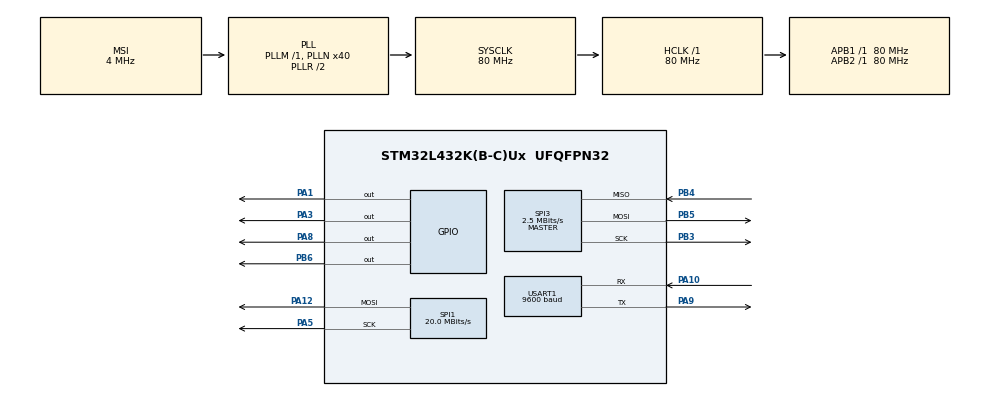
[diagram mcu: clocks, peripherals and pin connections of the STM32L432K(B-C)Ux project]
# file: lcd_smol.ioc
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FATFS._MAX_SS=4096
FATFS._USE_LFN=1
Mcu.Family=STM32L4
Mcu.Name=STM32L432K(B-C)Ux
Mcu.Package=UFQFPN32
NVIC.PriorityGroup=NVIC_PRIORITYGROUP_3
NVIC.TIM2_IRQn=true\:7\:0\:true\:false\:true\:false\:true\:true
NVIC.TimeBase=TIM2_IRQn
NVIC.TimeBaseIP=TIM2
NVIC.USART1_IRQn=true\:0\:0\:false\:false\:true\:true\:true\:true
PA0.GPIO_Label=MCO [High speed clock in]
PA0.Mode=HSE-External-Clock-Source-for-LittleOrca
PA0.Signal=RCC_CK_IN
PA1.GPIO_Speed=GPIO_SPEED_FREQ_VERY_HIGH
PA1.Signal=GPIO_Output
PA10.Mode=Asynchronous
PA10.Signal=USART1_RX
PA12.Mode=TX_Only_Simplex_Unidirect_Master
PA12.Signal=SPI1_MOSI
PA13\ (JTMS-SWDIO).GPIO_Label=SWDIO
PA13\ (JTMS-SWDIO).Signal=SYS_JTMS-SWDIO
PA14\ (JTCK-SWCLK).GPIO_Label=SWCLK
PA14\ (JTCK-SWCLK).Signal=SYS_JTCK-SWCLK
PA15\ (JTDI).GPIO_Label=VCP_RX
PA15\ (JTDI).Signal=USART2_RX
PA2.GPIO_Label=VCP_TX
PA2.Signal=USART2_TX
PA3.GPIO_Speed=GPIO_SPEED_FREQ_VERY_HIGH
PA3.Signal=GPIO_Output
PA5.Mode=TX_Only_Simplex_Unidirect_Master
PA5.Signal=SPI1_SCK
PA8.GPIO_Speed=GPIO_SPEED_FREQ_MEDIUM
PA8.PinState=GPIO_PIN_SET
PA8.Signal=GPIO_Output
PA9.Mode=Asynchronous
PA9.Signal=USART1_TX
PB3\ (JTDO-TRACESWO).Mode=Full_Duplex_Master
PB3\ (JTDO-TRACESWO).Signal=SPI3_SCK
PB4\ (NJTRST).Mode=Full_Duplex_Master
PB4\ (NJTRST).Signal=SPI3_MISO
PB5.Mode=Full_Duplex_Master
PB5.Signal=SPI3_MOSI
PB6.GPIO_Speed=GPIO_SPEED_FREQ_VERY_HIGH
PB6.Signal=GPIO_Output
PC14-OSC32_IN\ (PC14).Mode=LSE-External-Oscillator
PC14-OSC32_IN\ (PC14).Signal=RCC_OSC32_IN
PC15-OSC32_OUT\ (PC15).Mode=LSE-External-Oscillator
PC15-OSC32_OUT\ (PC15).Signal=RCC_OSC32_OUT
ProjectManager.HeapSize=0x200
ProjectManager.StackSize=0x400
ProjectManager.TargetToolchain=STM32CubeIDE
RCC.AHBFreq_Value=80000000
RCC.APB1Freq_Value=80000000
RCC.APB1TimFreq_Value=80000000
RCC.APB2Freq_Value=80000000
RCC.APB2TimFreq_Value=80000000
RCC.CortexFreq_Value=80000000
RCC.HCLKFreq_Value=80000000
RCC.HSE_VALUE=8000000
RCC.HSI16_VALUE=16000000
RCC.HSI48_VALUE=48000000
RCC.HSI_VALUE=16000000
RCC.MSI_VALUE=4000000
RCC.PLLMUL=RCC_PLLMUL_4
RCC.PLLN=40
RCC.RTCClockSelection=RCC_RTCCLKSOURCE_LSE
RCC.SYSCLKFreq_VALUE=80000000
RCC.SYSCLKSource=RCC_SYSCLKSOURCE_PLLCLK
RCC.VCOOutputFreq_Value=160000000
SPI1.BaudRatePrescaler=SPI_BAUDRATEPRESCALER_4
SPI1.CalculateBaudRate=20.0 MBits/s
SPI1.DataSize=SPI_DATASIZE_8BIT
SPI1.Direction=SPI_DIRECTION_2LINES
SPI1.Mode=SPI_MODE_MASTER
SPI1.VirtualType=VM_MASTER
SPI3.BaudRatePrescaler=SPI_BAUDRATEPRESCALER_32
SPI3.CalculateBaudRate=2.5 MBits/s
SPI3.DataSize=SPI_DATASIZE_8BIT
SPI3.Direction=SPI_DIRECTION_2LINES
SPI3.Mode=SPI_MODE_MASTER
SPI3.VirtualType=VM_MASTER
USART1.BaudRate=9600
USART1.VirtualMode-Asynchronous=VM_ASYNC
VP_FATFS_VS_Generic.Mode=User_defined
VP_RTC_VS_RTC_Activate.Mode=RTC_Enabled
VP_SYS_VS_tim2.Mode=TIM2
board=NUCLEO-L432KC

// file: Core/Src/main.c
/* USER CODE BEGIN Header */
/**
 ******************************************************************************
 * @file           : main.c
 * @brief          : Main program body
 ******************************************************************************
 * @attention
 *
 * Copyright (c) 2023 STMicroelectronics.
 * All rights reserved.
 *
 * This software is licensed under terms that can be found in the LICENSE file
 * in the root directory of this software component.
 * If no LICENSE file comes with this software, it is provided AS-IS.
 *
 ******************************************************************************
 */
/* USER CODE END Header */
#include "main.h"
#include "fatfs.h"

/* USER CODE BEGIN Includes */
#include "lcd_smol.h"
#include <stdlib.h>
#include "TADAMHESPEVDataTemplate.h"

#include "fatfs_sd.h"
#include "string.h"
#include "stdio.h"
/* USER CODE END Includes */

RTC_HandleTypeDef hrtc;

SPI_HandleTypeDef hspi1;
SPI_HandleTypeDef hspi3;

UART_HandleTypeDef huart1;

/* USER CODE BEGIN PV */
uint8_t buf[20];
int warning = 0;
int volt_percent = 46*10 - 440;
int refresh = 0;
int batRefresh = 1;
int numRefresh = 0;
HAL_StatusTypeDef uartRecieveCode;

struct TelData data; //global data struct
void TADBufferToStruct(float*, struct TelData*);

//SD STUFF
SPI_HandleTypeDef hspi3;
FATFS fs;
FATFS *pfs;
FIL fil;
FRESULT fres;
DWORD fre_clust;
uint32_t totalSpace, freeSpace;
//char buffer[100];

#define LOG_FILE_NAME "TADLOG.txt"
#define NUM_ENTRIES_PER_WRITE 10
float sdwritebuffer[1000]; //fill buffer before sd write, make big enough to prevent overflow
float* sdbufindex = sdwritebuffer; //current index of sd write buffer

/* USER CODE END PV */

void SystemClock_Config(void);
static void MX_GPIO_Init(void);
static void MX_RTC_Init(void);
static void MX_SPI1_Init(void);
static void MX_USART1_UART_Init(void);
static void MX_SPI3_Init(void);

/* USER CODE BEGIN 0 */
int ignoreData = 0;

FRESULT LogToSD(){
	fres = f_open(&fil, LOG_FILE_NAME, FA_OPEN_APPEND | FA_WRITE | FA_READ);
	if (fres == FR_OK) {
		printf("File opened for reading and checking the free space.\n");
	} else if (fres != FR_OK) {
		printf(
				"File was not opened for reading and checking the free space!\n");
	}

	printf("writing data to file\n");
	char dataStr[100];
	for(float* start = sdwritebuffer; start < sdbufindex; start += 5){
		sprintf(dataStr, "%08X,%08X,%08X,%08X,%08X\n" ,
					*(unsigned int*)&(*start),
					*(unsigned int*)&(*(start+1)),
					*(unsigned int*)&(*(start+2)),
					*(unsigned int*)&(*(start+3)),
					*(unsigned int*)&(*(start+4)));
		f_puts(dataStr, &fil);

	}
	fres = f_close(&fil);
	sdbufindex = sdwritebuffer;
//	sprintf(dataStr, "%08X, %08X, %08X, %08X, %08X" ,
//			*(unsigned int*)&data.accel,
//			*(unsigned int*)&data.temp,
//			*(unsigned int*)&data.speed,
//			*(unsigned int*)&data.voltage,
//			*(unsigned int*)&data.current);
	/* Close file */

	if (fres == FR_OK) {
		printf("The file is closed.\n");
	} else if (fres != FR_OK) {
		printf("The file was not closed.\n");
	}
	return fres;

}

FRESULT InitializeSD(){
	HAL_Delay(500);
	//BEGIN SD TEST
	fres = f_mount(&fs, "", 1);
	if (fres == FR_OK) {
		printf("Micro SD card is mounted successfully!\n");
	} else if (fres != FR_OK) {
		printf("Micro SD card's mount error!\n");
	}

//	fres = f_open(&fil, "NEWTESTLOG.csv", FA_OPEN_APPEND | FA_WRITE | FA_READ);
//	if (fres == FR_OK) {
//		printf("File opened for reading and checking the free space.\n");
//	} else if (fres != FR_OK) {
//		printf(
//				"File was not opened for reading and checking the free space!\n");
//	}

	fres = f_open(&fil, LOG_FILE_NAME, FA_OPEN_APPEND | FA_WRITE | FA_READ);
	if (fres == FR_OK) {
		printf("File opened for reading and checking the free space.\n");
	} else if (fres != FR_OK) {
		printf(
				"File was not opened for reading and checking the free space!\n");
	}
	printf("writing file header\n");
	//buf[0] accel, buf[1] temp, buf[2] speed, buf[3] voltage, buf[4] current
	f_puts("Acceleration,Temperature,Speed,Voltage,Current\n", &fil);
	/* Close file */
	fres = f_close(&fil);
	return fres;
}

/* USER CODE END 0 */

int main(void)
{

  /* MCU Configuration--------------------------------------------------------*/

  /* Reset of all peripherals, Initializes the Flash interface and the Systick. */
  HAL_Init();

  /* Configure the system clock */
  SystemClock_Config();

  /* Initialize all configured peripherals */
  MX_GPIO_Init();
  MX_RTC_Init();
  MX_SPI1_Init();
  MX_USART1_UART_Init();
  MX_SPI3_Init();
  MX_FATFS_Init();
  /* USER CODE BEGIN 2 */
//  	HAL_Delay(250);
	LCD_TADAMHASPEV(&hspi1);
	int tempWarn = 0;
	int voltWarn = 0;
//	HAL_Delay(3500);
	InitializeSD();
	HAL_Delay(500);
	uartRecieveCode = HAL_UART_Receive_IT(&huart1, (uint8_t*) &buf, sizeof(buf));

  /* USER CODE END 2 */

  /* Infinite loop */
	while (1) {

    /* USER CODE BEGIN 3 */
		//buf[0] accel, buf[1] temp, buf[2] speed, buf[3] voltage, buf[4] current
//		int delay = 0;

		if(sdbufindex-sdwritebuffer >= 5*NUM_ENTRIES_PER_WRITE){
			LogToSD();
		}

		if (huart1.ErrorCode == 8) {
			HAL_UART_Receive_IT(&huart1, (uint8_t*) &buf,
								sizeof(buf));
			ignoreData = 1;
		}
		if (refresh == 1) {
			LCD_updateVals(&hspi1, data);
			refresh = 0;
			LCD_warnings(&hspi1, data.temp, volt_percent, &warning, &tempWarn, &voltWarn);
			if (batRefresh == 1) {
				volt_percent = (int) (data.voltage * 10 - 440);
				LCD_updateBattery(&hspi1, volt_percent);
				batRefresh = 0;
//				delay = 1;
			}
//			if(delay ==1) {
//				HAL_Delay(500);
//				delay = 0;
//			}
			uartRecieveCode = HAL_UART_Receive_IT(&huart1, (uint8_t*) &buf,
					sizeof(buf));
		}

	}
  /* USER CODE END 3 */
}

void SystemClock_Config(void)
{
  RCC_OscInitTypeDef RCC_OscInitStruct = {0};
  RCC_ClkInitTypeDef RCC_ClkInitStruct = {0};

  /** Configure the main internal regulator output voltage
  */
  if (HAL_PWREx_ControlVoltageScaling(PWR_REGULATOR_VOLTAGE_SCALE1) != HAL_OK)
  {
    Error_Handler();
  }

  /** Configure LSE Drive Capability
  */
  HAL_PWR_EnableBkUpAccess();
  __HAL_RCC_LSEDRIVE_CONFIG(RCC_LSEDRIVE_LOW);

  /** Initializes the RCC Oscillators according to the specified parameters
  * in the RCC_OscInitTypeDef structure.
  */
  RCC_OscInitStruct.OscillatorType = RCC_OSCILLATORTYPE_LSE|RCC_OSCILLATORTYPE_MSI;
  RCC_OscInitStruct.LSEState = RCC_LSE_ON;
  RCC_OscInitStruct.MSIState = RCC_MSI_ON;
  RCC_OscInitStruct.MSICalibrationValue = 0;
  RCC_OscInitStruct.MSIClockRange = RCC_MSIRANGE_6;
  RCC_OscInitStruct.PLL.PLLState = RCC_PLL_ON;
  RCC_OscInitStruct.PLL.PLLSource = RCC_PLLSOURCE_MSI;
  RCC_OscInitStruct.PLL.PLLM = 1;
  RCC_OscInitStruct.PLL.PLLN = 40;
  RCC_OscInitStruct.PLL.PLLP = RCC_PLLP_DIV7;
  RCC_OscInitStruct.PLL.PLLQ = RCC_PLLQ_DIV2;
  RCC_OscInitStruct.PLL.PLLR = RCC_PLLR_DIV2;
  if (HAL_RCC_OscConfig(&RCC_OscInitStruct) != HAL_OK)
  {
    Error_Handler();
  }

  /** Initializes the CPU, AHB and APB buses clocks
  */
  RCC_ClkInitStruct.ClockType = RCC_CLOCKTYPE_HCLK|RCC_CLOCKTYPE_SYSCLK
                              |RCC_CLOCKTYPE_PCLK1|RCC_CLOCKTYPE_PCLK2;
  RCC_ClkInitStruct.SYSCLKSource = RCC_SYSCLKSOURCE_PLLCLK;
  RCC_ClkInitStruct.AHBCLKDivider = RCC_SYSCLK_DIV1;
  RCC_ClkInitStruct.APB1CLKDivider = RCC_HCLK_DIV1;
  RCC_ClkInitStruct.APB2CLKDivider = RCC_HCLK_DIV1;

  if (HAL_RCC_ClockConfig(&RCC_ClkInitStruct, FLASH_LATENCY_4) != HAL_OK)
  {
    Error_Handler();
  }

  /** Enable MSI Auto calibration
  */
  HAL_RCCEx_EnableMSIPLLMode();
}

static void MX_RTC_Init(void)
{

  /** Initialize RTC Only
  */
  hrtc.Instance = RTC;
  hrtc.Init.HourFormat = RTC_HOURFORMAT_24;
  hrtc.Init.AsynchPrediv = 127;
  hrtc.Init.SynchPrediv = 255;
  hrtc.Init.OutPut = RTC_OUTPUT_DISABLE;
  hrtc.Init.OutPutRemap = RTC_OUTPUT_REMAP_NONE;
  hrtc.Init.OutPutPolarity = RTC_OUTPUT_POLARITY_HIGH;
  hrtc.Init.OutPutType = RTC_OUTPUT_TYPE_OPENDRAIN;
  if (HAL_RTC_Init(&hrtc) != HAL_OK)
  {
    Error_Handler();
  }

}

static void MX_SPI1_Init(void)
{

  /* SPI1 parameter configuration*/
  hspi1.Instance = SPI1;
  hspi1.Init.Mode = SPI_MODE_MASTER;
  hspi1.Init.Direction = SPI_DIRECTION_2LINES;
  hspi1.Init.DataSize = SPI_DATASIZE_8BIT;
  hspi1.Init.CLKPolarity = SPI_POLARITY_LOW;
  hspi1.Init.CLKPhase = SPI_PHASE_1EDGE;
  hspi1.Init.NSS = SPI_NSS_SOFT;
  hspi1.Init.BaudRatePrescaler = SPI_BAUDRATEPRESCALER_4;
  hspi1.Init.FirstBit = SPI_FIRSTBIT_MSB;
  hspi1.Init.TIMode = SPI_TIMODE_DISABLE;
  hspi1.Init.CRCCalculation = SPI_CRCCALCULATION_DISABLE;
  hspi1.Init.CRCPolynomial = 7;
  hspi1.Init.CRCLength = SPI_CRC_LENGTH_DATASIZE;
  hspi1.Init.NSSPMode = SPI_NSS_PULSE_ENABLE;
  if (HAL_SPI_Init(&hspi1) != HAL_OK)
  {
    Error_Handler();
  }

}

static void MX_SPI3_Init(void)
{

  /* SPI3 parameter configuration*/
  hspi3.Instance = SPI3;
  hspi3.Init.Mode = SPI_MODE_MASTER;
  hspi3.Init.Direction = SPI_DIRECTION_2LINES;
  hspi3.Init.DataSize = SPI_DATASIZE_8BIT;
  hspi3.Init.CLKPolarity = SPI_POLARITY_LOW;
  hspi3.Init.CLKPhase = SPI_PHASE_1EDGE;
  hspi3.Init.NSS = SPI_NSS_SOFT;
  hspi3.Init.BaudRatePrescaler = SPI_BAUDRATEPRESCALER_32;
  hspi3.Init.FirstBit = SPI_FIRSTBIT_MSB;
  hspi3.Init.TIMode = SPI_TIMODE_DISABLE;
  hspi3.Init.CRCCalculation = SPI_CRCCALCULATION_DISABLE;
  hspi3.Init.CRCPolynomial = 7;
  hspi3.Init.CRCLength = SPI_CRC_LENGTH_DATASIZE;
  hspi3.Init.NSSPMode = SPI_NSS_PULSE_ENABLE;
  if (HAL_SPI_Init(&hspi3) != HAL_OK)
  {
    Error_Handler();
  }

}

static void MX_USART1_UART_Init(void)
{

  huart1.Instance = USART1;
  huart1.Init.BaudRate = 9600;
  huart1.Init.WordLength = UART_WORDLENGTH_8B;
  huart1.Init.StopBits = UART_STOPBITS_1;
  huart1.Init.Parity = UART_PARITY_NONE;
  huart1.Init.Mode = UART_MODE_TX_RX;
  huart1.Init.HwFlowCtl = UART_HWCONTROL_NONE;
  huart1.Init.OverSampling = UART_OVERSAMPLING_16;
  huart1.Init.OneBitSampling = UART_ONE_BIT_SAMPLE_DISABLE;
  huart1.AdvancedInit.AdvFeatureInit = UART_ADVFEATURE_NO_INIT;
  if (HAL_UART_Init(&huart1) != HAL_OK)
  {
    Error_Handler();
  }

}

static void MX_GPIO_Init(void)
{
  GPIO_InitTypeDef GPIO_InitStruct = {0};

  /* GPIO Ports Clock Enable */
  __HAL_RCC_GPIOC_CLK_ENABLE();
  __HAL_RCC_GPIOA_CLK_ENABLE();
  __HAL_RCC_GPIOB_CLK_ENABLE();

  /*Configure GPIO pin Output Level */
  HAL_GPIO_WritePin(GPIOA, GPIO_PIN_1|GPIO_PIN_3, GPIO_PIN_RESET);

  /*Configure GPIO pin Output Level */
  HAL_GPIO_WritePin(GPIOA, GPIO_PIN_8, GPIO_PIN_SET);

  /*Configure GPIO pin Output Level */
  HAL_GPIO_WritePin(GPIOB, GPIO_PIN_6, GPIO_PIN_RESET);

  /*Configure GPIO pins : PA1 PA3 */
  GPIO_InitStruct.Pin = GPIO_PIN_1|GPIO_PIN_3;
  GPIO_InitStruct.Mode = GPIO_MODE_OUTPUT_PP;
  GPIO_InitStruct.Pull = GPIO_NOPULL;
  GPIO_InitStruct.Speed = GPIO_SPEED_FREQ_VERY_HIGH;
  HAL_GPIO_Init(GPIOA, &GPIO_InitStruct);

  /*Configure GPIO pin : VCP_TX_Pin */
  GPIO_InitStruct.Pin = VCP_TX_Pin;
  GPIO_InitStruct.Mode = GPIO_MODE_AF_PP;
  GPIO_InitStruct.Pull = GPIO_NOPULL;
  GPIO_InitStruct.Speed = GPIO_SPEED_FREQ_VERY_HIGH;
  GPIO_InitStruct.Alternate = GPIO_AF7_USART2;
  HAL_GPIO_Init(VCP_TX_GPIO_Port, &GPIO_InitStruct);

  /*Configure GPIO pin : PA8 */
  GPIO_InitStruct.Pin = GPIO_PIN_8;
  GPIO_InitStruct.Mode = GPIO_MODE_OUTPUT_PP;
  GPIO_InitStruct.Pull = GPIO_NOPULL;
  GPIO_InitStruct.Speed = GPIO_SPEED_FREQ_MEDIUM;
  HAL_GPIO_Init(GPIOA, &GPIO_InitStruct);

  /*Configure GPIO pin : VCP_RX_Pin */
  GPIO_InitStruct.Pin = VCP_RX_Pin;
  GPIO_InitStruct.Mode = GPIO_MODE_AF_PP;
  GPIO_InitStruct.Pull = GPIO_NOPULL;
  GPIO_InitStruct.Speed = GPIO_SPEED_FREQ_VERY_HIGH;
  GPIO_InitStruct.Alternate = GPIO_AF3_USART2;
  HAL_GPIO_Init(VCP_RX_GPIO_Port, &GPIO_InitStruct);

  /*Configure GPIO pin : PB6 */
  GPIO_InitStruct.Pin = GPIO_PIN_6;
  GPIO_InitStruct.Mode = GPIO_MODE_OUTPUT_PP;
  GPIO_InitStruct.Pull = GPIO_NOPULL;
  GPIO_InitStruct.Speed = GPIO_SPEED_FREQ_VERY_HIGH;
  HAL_GPIO_Init(GPIOB, &GPIO_InitStruct);

}

/* USER CODE BEGIN 4 */
void HAL_UART_RxCpltCallback(UART_HandleTypeDef *huart) {

	if(ignoreData == 1){
		ignoreData = 0;
		uartRecieveCode = HAL_UART_Receive_IT(&huart1, (uint8_t*) &buf, sizeof(buf));
		return;
	}

	float* fbuf = buf;
	//copy values into sd write buffer
	float* end = fbuf+5;
	for (float* p = fbuf; p < end; ++p) {
	    *(sdbufindex++) = *p;
	}

	if ( //check if values changed
	ignoreData == 0 && (fbuf[0] != data.accel || fbuf[1] != data.temp || fbuf[2] != data.speed
			|| fbuf[3] != data.voltage || fbuf[4] != data.current)  ) {
		if (numRefresh % 20 == 0) batRefresh = 1; //only refresh battery when voltage changes
		TADBufferToStruct((float*)buf, &data);
		refresh = 1;
	}
	else{
		//ignoreData = 0;
		uartRecieveCode = HAL_UART_Receive_IT(&huart1, (uint8_t*) &buf, sizeof(buf));

	}
	//uartRecieveCode = HAL_UART_Receive_IT(&huart1, (uint8_t*) &buf, sizeof(buf));
	numRefresh++;
}

/* USER CODE END 4 */

void HAL_TIM_PeriodElapsedCallback(TIM_HandleTypeDef *htim)
{
  if (htim->Instance == TIM2) {
    HAL_IncTick();
  }
}

void Error_Handler(void)
{
	__disable_irq();
	while (1) {
	}
}
